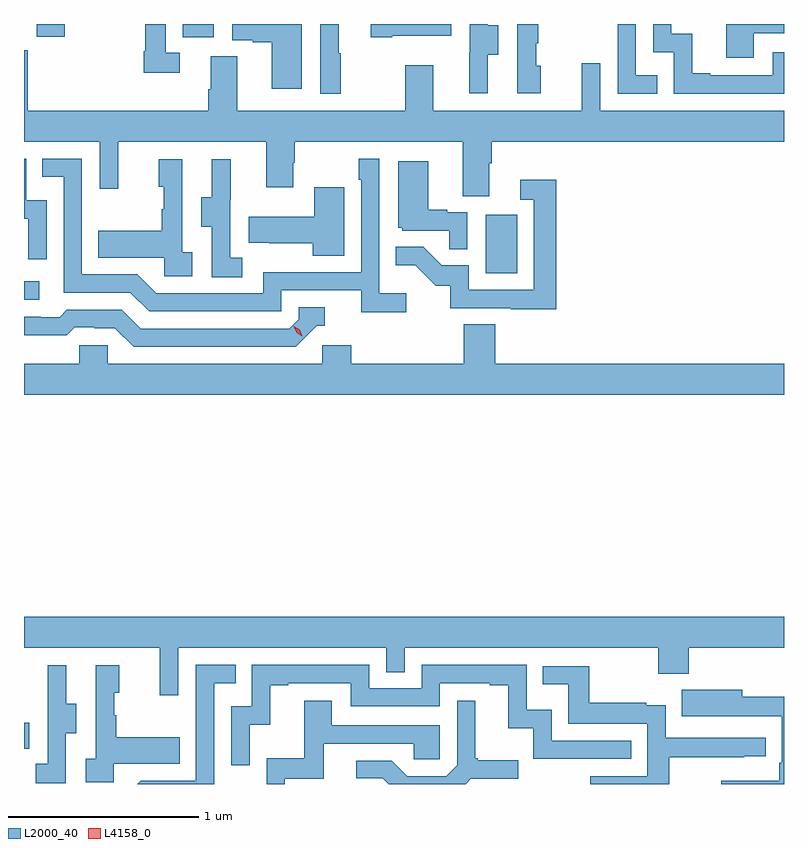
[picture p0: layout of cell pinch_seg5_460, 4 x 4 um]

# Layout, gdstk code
import gdstk
lib = gdstk.Library(unit=1e-6, precision=1e-09)
def R(c, l, rs):  # rectangles x0, y0, x1, y1
    for r in rs: c.add(gdstk.rectangle(r[:2], r[2:], *l))
def P(c, l, *ps):  # polygons
    for p in ps: c.add(gdstk.Polygon(p, *l))
L2000_40 = (2000, 40)
L4158_0 = (4158, 0)

pinch_seg5_460 = lib.new_cell('pinch_seg5_460')
R(pinch_seg5_460, L2000_40, [(911.959,853.565,911.987,853.702), (911.959,855.93,912.04,856.026), (914.39,856.068,914.554,856.375), (912.794,857.31,912.958,857.38), (912.026,857.313,912.174,857.38)])
P(pinch_seg5_460, L2000_40, [(915.799,857.331),(915.959,857.331),(915.959,857.38),(915.655,857.38),(915.655,857.202),(915.799,857.202)],
  [(914.68,857.16),(914.655,857.16),(914.655,857.279),(914.665,857.279),(914.665,857.38),(914.556,857.38),(914.556,857.016),(914.68,857.016)],
  [(914.401,857.218),(914.455,857.218),(914.455,857.373),(914.4,857.373),(914.4,857.38),(914.304,857.38),(914.304,857.229),(914.303,857.229),(914.303,857.016),(914.401,857.016)],
  [(913.627,857.225),(913.615,857.225),(913.615,857.38),(913.518,857.38),(913.518,857.013),(913.627,857.013)],
  [(915.293,857.109),(915.18,857.109),(915.18,857.38),(915.084,857.38),(915.084,857.013),(915.293,857.013)],
  [(913.897,857.318),(914.207,857.318),(914.207,857.38),(913.785,857.38),(913.785,857.311),(913.897,857.311)],
  [(915.959,857.232),(915.9,857.232),(915.9,857.109),(915.571,857.109),(915.571,857.122),(915.476,857.122),(915.476,857.33),(915.366,857.33),(915.366,857.38),(915.27,857.38),(915.27,857.232),(915.378,857.232),(915.378,857.013),(915.959,857.013)],
  [(912.778,857.229),(912.705,857.229),(912.705,857.38),(912.597,857.38),(912.597,857.236),(912.589,857.236),(912.589,857.124),(912.778,857.124)],
  [(913.42,857.38),(913.056,857.38),(913.056,857.295),(913.163,857.295),(913.163,857.283),(913.262,857.283),(913.262,857.04),(913.42,857.04)],
  [(914.407,856.648),(914.42,856.648),(914.42,856.76),(915.959,856.76),(915.959,856.924),(914.991,856.924),(914.991,857.173),(914.894,857.173),(914.894,856.924),(914.113,856.924),(914.113,857.164),(913.966,857.164),(913.966,856.924),(913.081,856.924),(913.081,857.21),(912.941,857.21),(912.941,857.036),(912.929,857.036),(912.929,856.924),(911.98,856.924),(911.98,857.241),(911.959,857.241),(911.959,856.76),(912.357,856.76),(912.357,856.512),(912.455,856.512),(912.455,856.76),(913.235,856.76),(913.235,856.521),(913.375,856.521),(913.375,856.649),(913.383,856.649),(913.383,856.76),(914.267,856.76),(914.267,856.474),(914.407,856.474)],
  [(913.972,855.964),(913.83,855.964),(913.83,856.672),(913.722,856.672),(913.722,856.559),(913.734,856.559),(913.734,856.074),(913.218,856.074),(913.218,855.963),(912.654,855.963),(912.555,856.062),(912.264,856.062),(912.264,856.671),(912.055,856.671),(912.055,856.575),(912.168,856.575),(912.168,855.966),(912.518,855.966),(912.617,855.867),(913.314,855.867),(913.314,855.978),(913.733,855.978),(913.733,855.862),(913.972,855.862)],
  [(912.078,856.452),(911.97,856.452),(911.97,856.671),(911.959,856.671),(911.959,856.355),(911.982,856.355),(911.982,856.143),(912.078,856.143)],
  [(913.108,856.151),(913.044,856.151),(913.044,856.455),(913.046,856.455),(913.046,856.669),(912.947,856.669),(912.947,856.467),(912.893,856.467),(912.893,856.312),(912.948,856.312),(912.948,856.048),(913.108,856.048)],
  [(912.844,856.178),(912.792,856.178),(912.792,856.669),(912.668,856.669),(912.668,856.524),(912.694,856.524),(912.694,856.406),(912.684,856.406),(912.684,856.291),(912.349,856.291),(912.349,856.151),(912.696,856.151),(912.696,856.053),(912.844,856.053)],
  [(914.292,856.389),(914.186,856.389),(914.186,856.402),(914.086,856.402),(914.086,856.657),(913.928,856.657),(913.928,856.308),(913.95,856.308),(913.95,856.293),(914.197,856.293),(914.197,856.195),(914.292,856.195)],
  [(914.759,856.561),(914.571,856.561),(914.571,856.455),(914.643,856.455),(914.643,855.981),(914.301,855.981),(914.301,856.11),(914.157,856.11),(914.059,856.208),(913.915,856.208),(913.915,856.109),(914.019,856.109),(914.126,856.002),(914.203,856.002),(914.203,855.885),(914.521,855.885),(914.521,855.88),(914.759,855.88)],
  [(913.645,856.522),(913.487,856.522),(913.487,856.366),(913.141,856.366),(913.141,856.229),(913.249,856.229),(913.249,856.226),(913.48,856.226),(913.48,856.161),(913.645,856.161)],
  [(913.5,855.792),(913.543,855.792),(913.543,855.888),(913.404,855.888),(913.404,855.825),(913.356,855.777),(912.573,855.777),(912.474,855.876),(912.185,855.876),(912.146,855.837),(912.047,855.837),(912.047,855.84),(911.959,855.84),(911.959,855.741),(912.185,855.741),(912.227,855.783),(912.33,855.783),(912.33,855.78),(912.437,855.78),(912.536,855.681),(913.389,855.681)],
  [(915.959,855.592),(914.438,855.592),(914.438,855.8),(914.273,855.8),(914.273,855.592),(913.682,855.592),(913.682,855.69),(913.53,855.69),(913.53,855.592),(912.399,855.592),(912.399,855.69),(912.249,855.69),(912.249,855.592),(911.959,855.592),(911.959,855.428),(915.959,855.428)],
  [(912.771,854.096),(913.866,854.096),(913.866,853.969),(913.962,853.969),(913.962,854.096),(915.298,854.096),(915.298,853.961),(915.458,853.961),(915.458,854.096),(915.959,854.096),(915.959,854.26),(911.959,854.26),(911.959,854.096),(912.674,854.096),(912.674,853.848),(912.771,853.848)],
  [(912.96,853.911),(913.073,853.911),(913.073,854.007),(912.864,854.007),(912.864,853.398),(912.573,853.398),(912.555,853.38),(912.96,853.38)],
  [(913.146,853.691),(913.256,853.691),(913.256,853.899),(913.351,853.899),(913.351,853.911),(913.68,853.911),(913.68,853.788),(914.148,853.788),(914.148,853.911),(914.411,853.911),(914.411,853.899),(914.507,853.899),(914.507,853.673),(914.64,853.673),(914.64,853.512),(915.155,853.512),(915.155,853.608),(914.736,853.608),(914.736,853.771),(914.604,853.771),(914.604,854.007),(914.052,854.007),(914.052,853.884),(913.776,853.884),(913.776,854.007),(913.158,854.007),(913.158,853.788),(913.05,853.788),(913.05,853.479),(913.146,853.479)],
  [(912.18,853.648),(912.235,853.648),(912.235,853.803),(912.181,853.803),(912.181,854.005),(912.083,854.005),(912.083,853.791),(912.084,853.791),(912.084,853.487),(912.021,853.487),(912.021,853.384),(912.18,853.384)],
  [(912.432,853.487),(912.779,853.487),(912.779,853.627),(912.445,853.627),(912.445,853.742),(912.435,853.742),(912.435,853.86),(912.46,853.86),(912.46,854.005),(912.336,854.005),(912.336,853.514),(912.285,853.514),(912.285,853.389),(912.432,853.389)],
  [(915.356,853.522),(915.749,853.522),(915.749,853.527),(915.862,853.527),(915.862,853.623),(915.336,853.623),(915.336,853.795),(915.233,853.795),(915.233,853.807),(914.935,853.807),(914.935,854.001),(914.689,854.001),(914.689,853.904),(914.824,853.904),(914.824,853.698),(915.24,853.698),(915.24,853.422),(914.939,853.422),(914.939,853.38),(915.356,853.38)],
  [(915.959,853.838),(915.739,853.838),(915.739,853.876),(915.421,853.876),(915.421,853.736),(915.635,853.736),(915.635,853.737),(915.948,853.737),(915.948,853.492),(915.935,853.492),(915.935,853.396),(915.63,853.396),(915.63,853.38),(915.959,853.38)],
  [(913.332,853.407),(913.537,853.407),(913.537,853.593),(914.011,853.593),(914.011,853.509),(914.148,853.509),(914.148,853.689),(913.579,853.689),(913.579,853.819),(913.435,853.819),(913.435,853.516),(913.236,853.516),(913.236,853.38),(913.332,853.38)],
  [(914.31,853.407),(914.56,853.407),(914.56,853.504),(914.347,853.504),(914.347,853.516),(914.335,853.516),(914.335,853.819),(914.238,853.819),(914.238,853.479),(914.181,853.422),(913.975,853.422),(913.894,853.503),(913.707,853.503),(913.707,853.41),(913.848,853.41),(913.878,853.38),(914.283,853.38)])
P(pinch_seg5_460, L4158_0, [(913.424,855.736),(913.394,855.756),(913.378,855.789),(913.378,855.79),(913.378,855.79),(913.409,855.77),(913.424,855.737),(913.424,855.736)])

lib.write_gds('pinch_seg5_460.gds')
